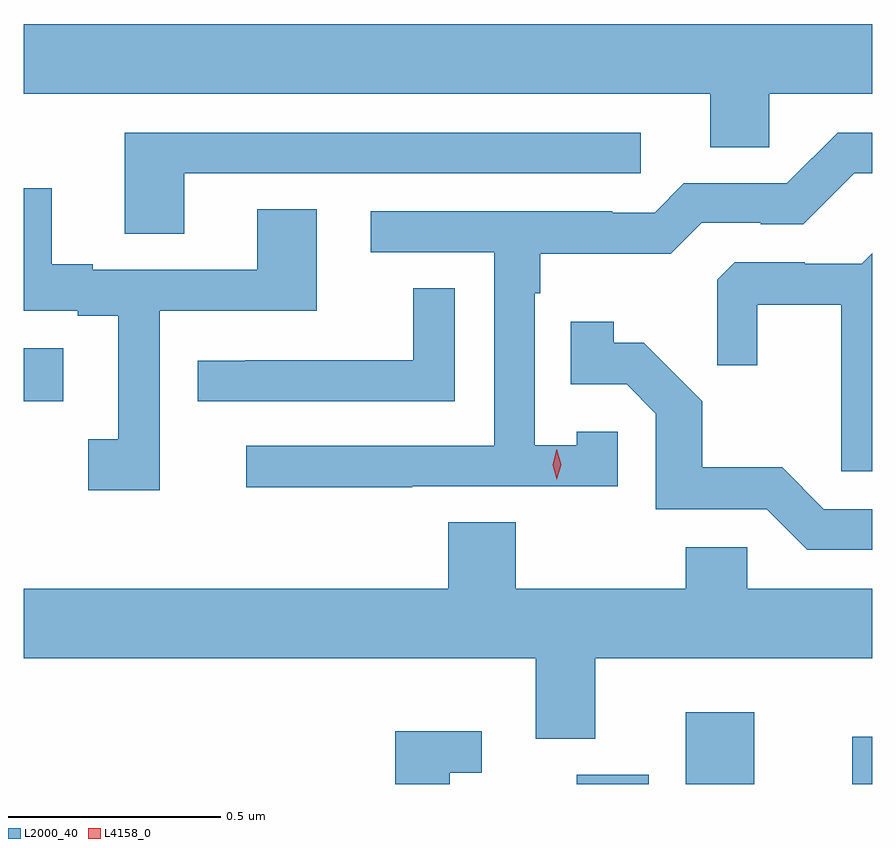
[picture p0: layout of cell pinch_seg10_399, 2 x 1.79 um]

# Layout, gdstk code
import gdstk
lib = gdstk.Library(unit=1e-6, precision=1e-09)
def R(c, l, rs):  # rectangles x0, y0, x1, y1
    for r in rs: c.add(gdstk.rectangle(r[:2], r[2:], *l))
def P(c, l, *ps):  # polygons
    for p in ps: c.add(gdstk.Polygon(p, *l))
L2000_40 = (2000, 40)
L4158_0 = (4158, 0)

pinch_seg10_399 = lib.new_cell('pinch_seg10_399')
R(pinch_seg10_399, L2000_40, [(551.384,1253.4,551.554,1253.422), (551.642,1253.4,551.803,1253.569), (552.034,1253.4,552.081,1253.512), (550.081,1254.303,550.174,1254.427)])
P(pinch_seg10_399, L2000_40, [(551.838,1255.028),(552.081,1255.028),(552.081,1255.192),(550.081,1255.192),(550.081,1255.028),(551.699,1255.028),(551.699,1254.901),(551.838,1254.901)],
  [(550.459,1254.84),(551.536,1254.84),(551.536,1254.936),(550.319,1254.936),(550.319,1254.697),(550.459,1254.697)],
  [(550.997,1254.102),(551.481,1254.102),(551.481,1254.231),(551.385,1254.231),(551.385,1254.199),(551.286,1254.199),(551.286,1254.557),(551.299,1254.557),(551.299,1254.65),(551.606,1254.65),(551.679,1254.723),(551.818,1254.723),(551.818,1254.72),(551.919,1254.72),(552.039,1254.84),(552.081,1254.84),(552.081,1254.936),(552,1254.936),(551.88,1254.816),(551.637,1254.816),(551.568,1254.747),(551.468,1254.747),(551.468,1254.75),(550.899,1254.75),(550.899,1254.654),(551.19,1254.654),(551.19,1254.198),(550.605,1254.198),(550.605,1254.1),(550.997,1254.1)],
  [(550.401,1254.516),(550.771,1254.516),(550.771,1254.755),(550.631,1254.755),(550.631,1254.612),(550.243,1254.612),(550.243,1254.625),(550.147,1254.625),(550.147,1254.805),(550.081,1254.805),(550.081,1254.516),(550.208,1254.516),(550.208,1254.504),(550.304,1254.504),(550.304,1254.213),(550.233,1254.213),(550.233,1254.093),(550.401,1254.093)],
  [(552.081,1254.652),(552.056,1254.627),(551.922,1254.627),(551.922,1254.63),(551.757,1254.63),(551.716,1254.589),(551.716,1254.387),(551.81,1254.387),(551.81,1254.53),(552.008,1254.53),(552.008,1254.138),(552.081,1254.138)],
  [(551.097,1254.569),(550.999,1254.569),(550.999,1254.399),(550.603,1254.399),(550.603,1254.398),(550.491,1254.398),(550.491,1254.303),(551.097,1254.303)],
  [(552.081,1254.048),(551.967,1254.048),(551.869,1254.147),(551.68,1254.147),(551.68,1254.302),(551.542,1254.44),(551.472,1254.44),(551.472,1254.49),(551.371,1254.49),(551.371,1254.342),(551.502,1254.342),(551.571,1254.273),(551.571,1254.048),(551.832,1254.048),(551.928,1253.952),(552.081,1253.952)],
  [(551.428,1253.696),(552.081,1253.696),(552.081,1253.86),(551.787,1253.86),(551.787,1253.958),(551.641,1253.958),(551.641,1253.86),(551.241,1253.86),(551.241,1254.017),(551.081,1254.017),(551.081,1253.86),(550.081,1253.86),(550.081,1253.696),(551.288,1253.696),(551.288,1253.507),(551.428,1253.507)],
  [(551.085,1253.427),(551.161,1253.427),(551.161,1253.524),(550.957,1253.524),(550.957,1253.4),(551.085,1253.4)])
P(pinch_seg10_399, L4158_0, [(551.338,1254.117),(551.338,1254.118),(551.328,1254.153),(551.338,1254.189),(551.338,1254.189),(551.338,1254.189),(551.348,1254.153),(551.338,1254.118)])

lib.write_gds('pinch_seg10_399.gds')
